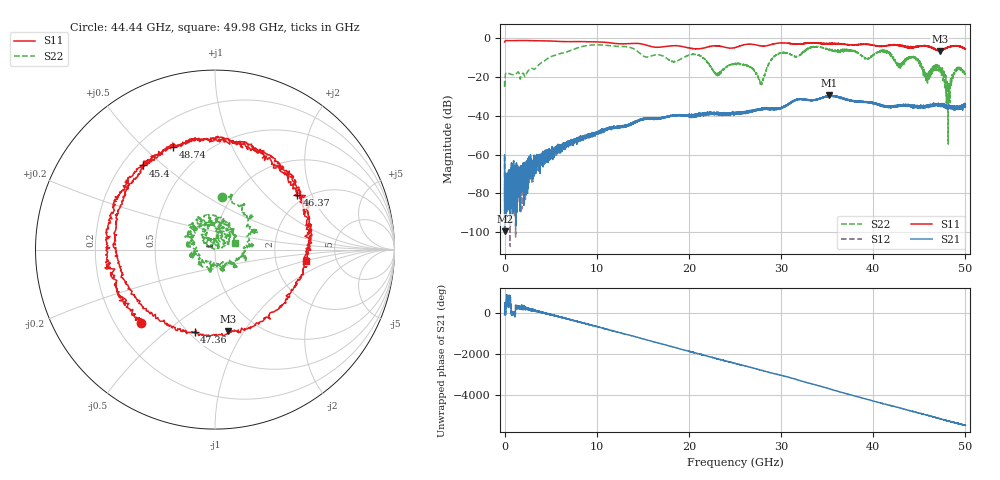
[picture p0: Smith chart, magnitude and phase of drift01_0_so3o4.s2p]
!Created with skrf (http://scikit-rf.org).
# Hz S RI R 50.0
!freq ReS11 ImS11 ReS21 ImS21 ReS12 ImS12 ReS22 ImS22
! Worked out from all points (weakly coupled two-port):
!   10001 points, 300 kHz to 50 GHz, reference 50 ohm
!   highest |S21| = -29.57 dB at 35.23 GHz (marker M1); lowest = -99.5 dB at 5.3 MHz (marker M2)
!   lowest |S11| = -6.8 dB at 47.21 GHz (marker M3), VSWR 2.70, Z = 37 - j42.5 ohm
!   |S11| at or under -10 dB: nowhere
!   |S22| runs from -54.7 to -3.6 dB; largest |S21 - S12| = 0.0039
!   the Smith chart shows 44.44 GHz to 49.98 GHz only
!   S11 on the Smith chart (normalised r, x): 44.44 GHz: 0.31, -0.38; 45.4 GHz: 0.28, +0.43; 46.37 GHz: 1.80, +1.56; 47.36 GHz: 0.53, -0.63; 48.74 GHz: 0.33, +0.62; 49.98 GHz: 3.01, -0.50
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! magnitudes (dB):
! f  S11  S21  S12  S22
! 300 kHz  -2.1  -60.2  -60.7  -22.3
! 5.3 MHz  -2.1  -99.5  -70.6  -25.7
! 280.3 MHz  -1.4  -83.9  -75.4  -18.0
! 8.335 GHz  -2.0  -51.6  -51.3  -4.6
! 16.67 GHz  -4.9  -41.6  -41.4  -8.7
! 20.97 GHz  -5.7  -40.1  -39.6  -8.8
! 23.07 GHz  -4.1  -39.4  -38.7  -18.5
! 25 GHz  -5.0  -38.9  -38.9  -13.6
! 27.83 GHz  -4.1  -36.6  -37.0  -22.5
! 29.47 GHz  -2.9  -36.3  -36.5  -8.9
! 33.34 GHz  -2.6  -32.0  -31.9  -4.7
! 35.23 GHz  -2.9  -29.6  -29.8  -5.9
! 41.67 GHz  -3.9  -35.5  -35.4  -7.6
! 44.44 GHz  -4.7  -35.3  -35.3  -10.5
! 45.4 GHz  -4.2  -35.4  -35.6  -16.9
! 46.37 GHz  -5.2  -34.4  -34.8  -17.6
! 47.21 GHz  -6.8  -34.3  -34.2  -17.0
! 47.36 GHz  -6.5  -34.8  -34.7  -16.4
! 48.13 GHz  -4.9  -35.7  -35.6  -39.4
! 48.74 GHz  -4.2  -35.6  -36.1  -17.7
! 49.98 GHz  -5.8  -34.6  -34.2  -18.6
! 50 GHz  -5.7  -35.0  -35.3  -18.8
